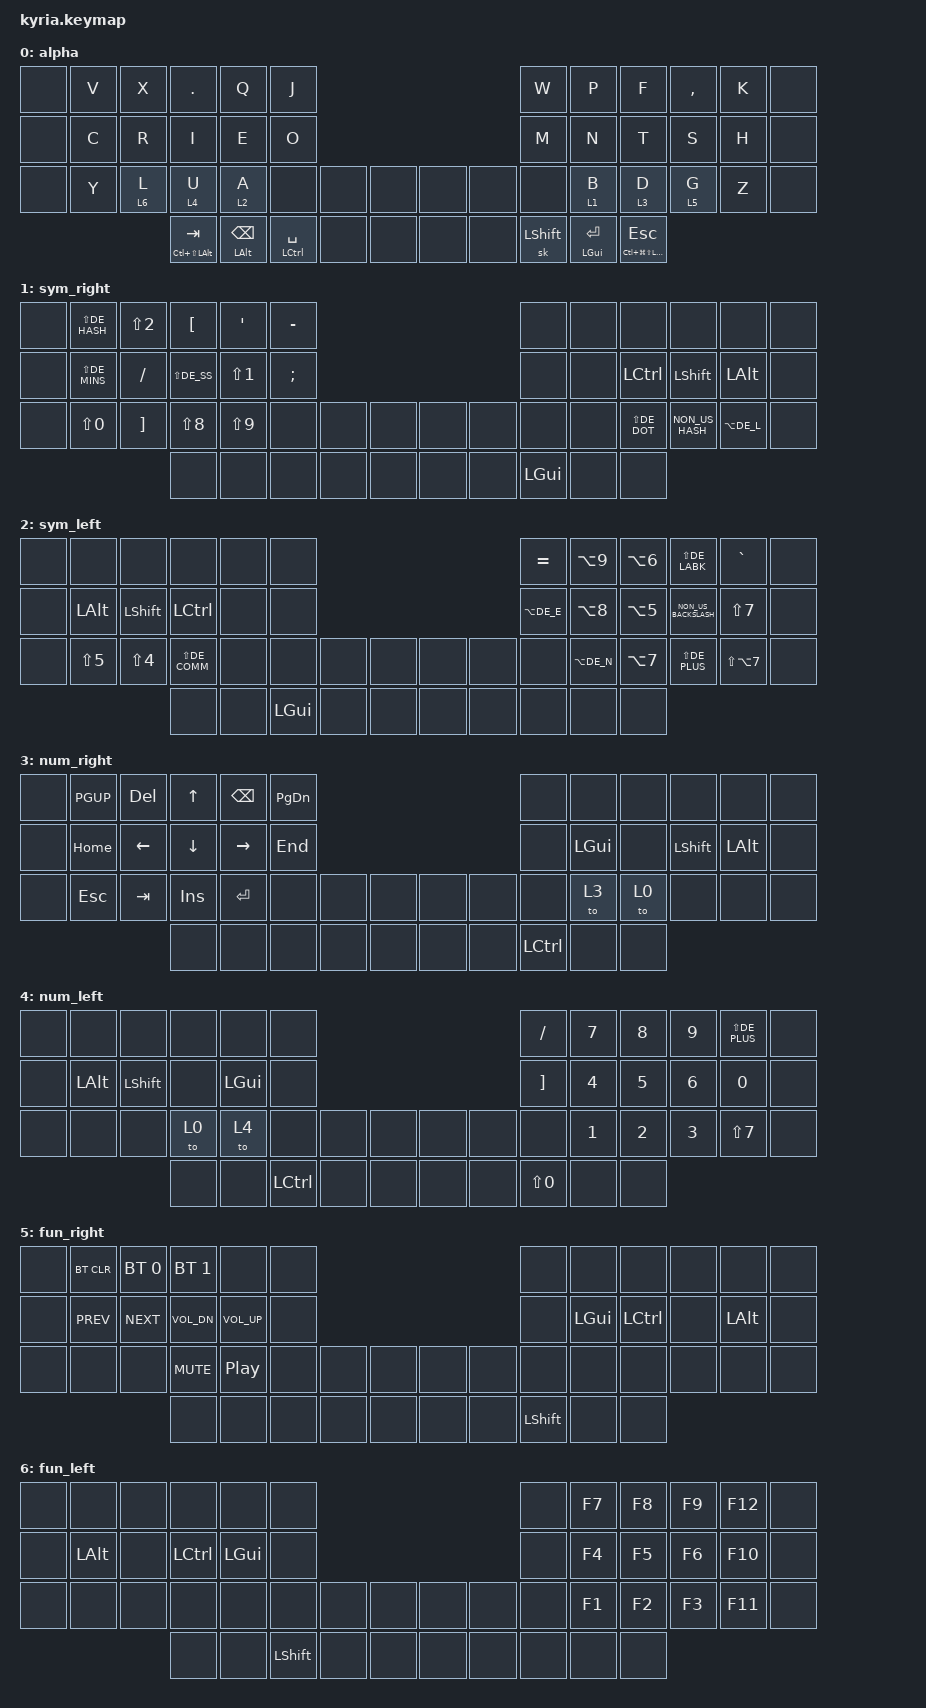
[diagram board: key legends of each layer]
/*
 * Copyright (c) 2020 The ZMK Contributors
 *
 * SPDX-License-Identifier: MIT
 */

#include <behaviors.dtsi>
#include <dt-bindings/zmk/keys.h>
#include <dt-bindings/zmk/bt.h>
#include <dt-bindings/zmk/mouse.h>

/*
 * ┌───┬───┬───┬───┬───┬───┬───┬───┬───┬───┬───┬───┬───┬─────┐
 * │ ^ │ 1 │ 2 │ 3 │ 4 │ 5 │ 6 │ 7 │ 8 │ 9 │ 0 │ ß │ ´ │     │
 * ├───┴─┬─┴─┬─┴─┬─┴─┬─┴─┬─┴─┬─┴─┬─┴─┬─┴─┬─┴─┬─┴─┬─┴─┬─┴─┬───┤
 * │     │ Q │ W │ E │ R │ T │ Z │ U │ I │ O │ P │ Ü │ + │   │
 * ├─────┴┬──┴┬──┴┬──┴┬──┴┬──┴┬──┴┬──┴┬──┴┬──┴┬──┴┬──┴┬──┴┐  │
 * │      │ A │ S │ D │ F │ G │ H │ J │ K │ L │ Ö │ Ä │ # │  │
 * ├────┬─┴─┬─┴─┬─┴─┬─┴─┬─┴─┬─┴─┬─┴─┬─┴─┬─┴─┬─┴─┬─┴─┬─┴───┴──┤
 * │    │ < │ Y │ X │ C │ V │ B │ N │ M │ , │ . │ - │        │
 * ├────┴┬──┴─┬─┴───┼───┴───┴───┴───┴───┴───┼───┴─┬─┴──┬─────┤
 * │     │    │     │                       │     │    │     │
 * └─────┴────┴─────┴───────────────────────┴─────┴────┴─────┘
 */
// Row 1
#define DE_CIRC GRAVE // ^ (dead)
#define DE_SS   MINUS // ß
#define DE_ACUT EQUAL // ´ (dead)

// Row 2
#define DE_Q    Q            // Q
#define DE_W    W            // W
#define DE_E    E            // E
#define DE_R    R            // R
#define DE_T    T            // T
#define DE_Z    Y            // Z
#define DE_U    U            // U
#define DE_I    I            // I
#define DE_O    O            // O
#define DE_P    P            // P
#define DE_UDIA LEFT_BRACKET // Ü
#define DE_PLUS RIGHT_BRACKET // +

// Row 3
#define DE_A    A            // A
#define DE_S    S            // S
#define DE_D    D            // D
#define DE_F    F            // F
#define DE_G    G            // G
#define DE_H    H            // H
#define DE_J    J            // J
#define DE_K    K            // K
#define DE_L    L            // L
#define DE_ODIA SEMICOLON    // Ö
#define DE_ADIA SINGLE_QUOTE // Ä
#define DE_HASH NON_US_HASH  // #

// Row 4
#define DE_LABK NON_US_BACKSLASH // <
#define DE_Y    Z                // Y
#define DE_X    X                // X
#define DE_C    C                // C
#define DE_V    V                // V
#define DE_B    B                // B
#define DE_N    N                // N
#define DE_M    M                // M
#define DE_COMM COMMA            // ,
#define DE_DOT  PERIOD           // .
#define DE_MINS SLASH            // -

/* Shifted symbols
 * ┌───┬───┬───┬───┬───┬───┬───┬───┬───┬───┬───┬───┬───┬─────┐
 * │ ° │ ! │ " │ § │ $ │ % │ & │ / │ ( │ ) │ = │ ? │ ` │     │
 * ├───┴─┬─┴─┬─┴─┬─┴─┬─┴─┬─┴─┬─┴─┬─┴─┬─┴─┬─┴─┬─┴─┬─┴─┬─┴─┬───┤
 * │     │   │   │   │   │   │   │   │   │   │   │   │ * │   │
 * ├─────┴┬──┴┬──┴┬──┴┬──┴┬──┴┬──┴┬──┴┬──┴┬──┴┬──┴┬──┴┬──┴┐  │
 * │      │   │   │   │   │   │   │   │   │   │   │   │ ' │  │
 * ├────┬─┴─┬─┴─┬─┴─┬─┴─┬─┴─┬─┴─┬─┴─┬─┴─┬─┴─┬─┴─┬─┴─┬─┴───┴──┤
 * │    │ > │   │   │   │   │   │   │   │ ; │ : │ _ │        │
 * ├────┴┬──┴─┬─┴───┼───┴───┴───┴───┴───┴───┼───┴─┬─┴──┬─────┤
 * │     │    │     │                       │     │    │     │
 * └─────┴────┴─────┴───────────────────────┴─────┴────┴─────┘
 */
// Row 1
#define DE_DEG  LS(DE_CIRC) // °
#define DE_EXLM LS(NUMBER_1)    // !
#define DE_DQUO LS(NUMBER_2)    // "
#define DE_SECT LS(NUMBER_3)    // §
#define DE_DLR  LS(NUMBER_4)    // $
#define DE_PERC LS(NUMBER_5)    // %
#define DE_AMPR LS(NUMBER_6)    // &
#define DE_SLSH LS(NUMBER_7)    // /
#define DE_LPRN LS(NUMBER_8)    // (
#define DE_RPRN LS(NUMBER_9)    // )
#define DE_EQL  LS(NUMBER_0)    // =
#define DE_QUES LS(DE_SS)   // ?
#define DE_GRV  LS(DE_ACUT) // ` (dead)
// Row 2
#define DE_ASTR LS(DE_PLUS) // *
// Row 3
#define DE_QUOT LS(DE_HASH) // '
// Row 4
#define DE_RABK LS(DE_LABK) // >
#define DE_SCLN LS(DE_COMM) // ;
#define DE_COLN LS(DE_DOT)  // :
#define DE_UNDS LS(DE_MINS) // _

/* Alted symbols
 * ┌───┬───┬───┬───┬───┬───┬───┬───┬───┬───┬───┬───┬───┬─────┐
 * │ „ │ ¡ │ “ │ ¶ │ ¢ │ [ │ ] │ | │ { │ } │ ≠ │ ¿ │   │     │
 * ├───┴─┬─┴─┬─┴─┬─┴─┬─┴─┬─┴─┬─┴─┬─┴─┬─┴─┬─┴─┬─┴─┬─┴─┬─┴─┬───┤
 * │     │ « │ ∑ │ € │ ® │ † │ Ω │ ¨ │ ⁄ │ Ø │ π │ • │ ± │   │
 * ├─────┴┬──┴┬──┴┬──┴┬──┴┬──┴┬──┴┬──┴┬──┴┬──┴┬──┴┬──┴┬──┴┐  │
 * │      │ Å │ ‚ │ ∂ │ ƒ │ © │ ª │ º │ ∆ │ @ │ Œ │ Æ │ ‘ │  │
 * ├────┬─┴─┬─┴─┬─┴─┬─┴─┬─┴─┬─┴─┬─┴─┬─┴─┬─┴─┬─┴─┬─┴─┬─┴───┴──┤
 * │    │ ≤ │ ¥ │ ≈ │ Ç │ √ │ ∫ │ ~ │ µ │ ∞ │ … │ – │        │
 * ├────┴┬──┴─┬─┴───┼───┴───┴───┴───┴───┴───┼───┴─┬─┴──┬─────┤
 * │     │    │     │                       │     │    │     │
 * └─────┴────┴─────┴───────────────────────┴─────┴────┴─────┘
 */
// Row 1
#define DE_LBRC LA(NUMBER_5)    // [
#define DE_RBRC LA(NUMBER_6)    // ]
#define DE_PIPE LA(NUMBER_7)    // |
#define DE_LCBR LA(NUMBER_8)    // {
#define DE_RCBR LA(NUMBER_9)    // }
#define DE_AT LA(DE_L)    // @
#define DE_EURO LA(DE_E)    // €
#define DE_TILD LA(DE_N)    // ~

/* Shift+Alted symbols
 * ┌───┬───┬───┬───┬───┬───┬───┬───┬───┬───┬───┬───┬───┬─────┐
 * │   │ ¬ │ ” │   │ £ │ ﬁ │   │ \ │ ˜ │ · │ ¯ │ ˙ │ ˚ │     │
 * ├───┴─┬─┴─┬─┴─┬─┴─┬─┴─┬─┴─┬─┴─┬─┴─┬─┴─┬─┴─┬─┴─┬─┴─┬─┴─┬───┤
 * │     │ » │   │ ‰ │ ¸ │ ˝ │ ˇ │ Á │ Û │   │ ∏ │   │  │   │
 * ├─────┴┬──┴┬──┴┬──┴┬──┴┬──┴┬──┴┬──┴┬──┴┬──┴┬──┴┬──┴┬──┴┐  │
 * │      │   │ Í │ ™ │ Ï │ Ì │ Ó │ ı │   │ ﬂ │   │   │   │  │
 * ├────┬─┴─┬─┴─┬─┴─┬─┴─┬─┴─┬─┴─┬─┴─┬─┴─┬─┴─┬─┴─┬─┴─┬─┴───┴──┤
 * │    │ ≥ │ ‡ │ Ù │   │ ◊ │ ‹ │ › │ ˘ │ ˛ │ ÷ │ — │        │
 * ├────┴┬──┴─┬─┴───┼───┴───┴───┴───┴───┴───┼───┴─┬─┴──┬─────┤
 * │     │    │     │                       │     │    │     │
 * └─────┴────┴─────┴───────────────────────┴─────┴────┴─────┘
 */
// Row 1
#define DE_BSLS LS(LA(NUMBER_7))    // (backslash)

#define DEFAULT 0
#define SYMBOLS 1
#define NUM 2
#define FUN 3

/ {
    behaviors {
        hl: hl {
            compatible = "zmk,behavior-hold-tap";
            label = "Hold Sticky Layer";
            #binding-cells = <2>;
            tapping-term-ms = <200>;
            quick_tap_ms = <0>;
            flavor = "tap-preferred";
            bindings = <&sl>, <&kp>;
        };

        tl: tl {
            compatible = "zmk,behavior-hold-tap";
            label = "To Layer";
            #binding-cells = <2>;
            tapping-term-ms = <200>;
            quick_tap_ms = <0>;
            flavor = "tap-preferred";
            bindings = <&mo>, <&kp>;
        };
    };
};

#define _____ &none
#define HYPER LC(LG(LS(LALT)))
#define MEH LC(LS(LALT))

&mt {
    tapping-term-ms = <300>;
    flavor = "tap-preferred";
    quick_tap_ms = <50>;
    bindings = <&sk>, <&kp>;
};

/ {
    keymap {
        compatible = "zmk,keymap";


        /**
        layer {
            bindings = <
            _____ _____ _____ _____ _____ _____                         _____ _____ _____ _____ _____ _____
            _____ _____ _____ _____ _____ _____                         _____ _____ _____ _____ _____ _____
            _____ _____ _____ _____ _____ _____ _____ _____ _____ _____ _____ _____ _____ _____ _____ _____
                              _____ _____ _____ _____ _____ _____ _____ _____ _____ _____
            >;
        };
        **/

        alpha {
            bindings = <
            _____ &kp DE_V &kp DE_X   &kp DE_DOT &kp DE_Q            &kp DE_J                                &kp DE_W   &kp DE_P       &kp DE_F         &kp DE_COMM &kp DE_K _____
            _____ &kp DE_C &kp DE_R   &kp DE_I   &kp DE_E            &kp DE_O                                &kp DE_M   &kp DE_N       &kp DE_T         &kp DE_S    &kp DE_H _____
            _____ &kp DE_Z &hl 6 DE_L &tl 4 DE_U &hl 2 DE_A          _____           _____ _____ _____ _____ _____      &hl 1 DE_B     &tl 3 DE_D       &hl 5 DE_G  &kp DE_Y _____
                                      &mt MEH TAB &mt LALT BACKSPACE &mt LCTRL SPACE _____ _____ _____ _____ &sk LSHFT  &mt LGUI ENTER &mt HYPER ESCAPE
            >;
        };


        sym_right {
            bindings = <
            _____ &kp DE_QUOT &kp DE_DQUO &kp DE_UDIA &kp DE_ADIA &kp DE_SS                           _____    _____ _____       _____       _____     _____
            _____ &kp DE_UNDS &kp DE_MINS &kp DE_QUES &kp DE_EXLM &kp DE_ODIA                         _____    _____ &kp LCTRL   &kp LSHFT   &kp LALT  _____
            _____ &kp DE_EQL  &kp DE_PLUS &kp DE_LPRN &kp DE_RPRN _____       _____ _____ _____ _____ _____    _____ &kp DE_COLN &kp DE_HASH &kp DE_AT _____
                                          _____       _____       _____       _____ _____ _____ _____ &kp LGUI _____ _____
            >;
        };

        sym_left {
            bindings = <
            _____ _____       _____      _____       _____ _____                             &kp DE_ACUT &kp DE_RCBR &kp DE_RBRC &kp DE_RABK &kp DE_CIRC _____
            _____ &kp LALT    &kp LSHFT  &kp LCTRL   _____ _____                             &kp DE_EURO &kp DE_LCBR &kp DE_LBRC &kp DE_LABK &kp DE_SLSH _____
            _____ &kp DE_PERC &kp DE_DLR &kp DE_SCLN _____ _____     _____ _____ _____ _____ _____       &kp DE_TILD &kp DE_PIPE &kp DE_ASTR &kp DE_BSLS _____
                                         _____       _____ &kp LGUI _____ _____ _____ _____ _____       _____       _____
            >;
        };

        num_right {
            bindings = <
            _____ &kp PGUP   &kp DELETE &kp UP   &kp BACKSPACE &kp PG_DN                         _____     _____    _____ _____     _____    _____
            _____ &kp HOME   &kp LEFT   &kp DOWN &kp RIGHT     &kp END                           _____     &kp LGUI _____ &kp LSHFT &kp LALT _____
            _____ &kp ESCAPE &kp TAB    &kp INS  &kp ENTER     _____     _____ _____ _____ _____ _____     &to 3    &to 0 _____     _____    _____
                                        _____    _____         _____     _____ _____ _____ _____ &kp LCTRL _____    _____
            >;
        };


        num_left {
            bindings = <
            _____ _____    _____     _____ _____    _____                             &kp DE_MINS &kp N7 &kp N8 &kp N9 &kp DE_ASTR _____
            _____ &kp LALT &kp LSHFT _____ &kp LGUI _____                             &kp DE_PLUS &kp N4 &kp N5 &kp N6 &kp N0      _____
            _____ _____    _____     &to 0 &to 4    _____     _____ _____ _____ _____ _____       &kp N1 &kp N2 &kp N3 &kp DE_SLSH _____
                                     _____ _____    &kp LCTRL _____ _____ _____ _____ &kp DE_EQL  _____ _____
            >;
        };


        fun_right {
            bindings = <
            _____ &bt BT_CLR &bt BT_SEL 0 &bt BT_SEL 1 _____            _____                         _____      _____    _____     _____ _____    _____
            _____ &kp C_PREV &kp C_NEXT   &kp C_VOL_DN &kp C_VOL_UP     _____                         _____      &kp LGUI &kp LCTRL _____ &kp LALT _____ 
            _____ _____      _____        &kp C_MUTE   &kp C_PLAY_PAUSE _____ _____ _____ _____ _____ _____      _____    _____     _____ _____    _____
                                          _____        _____            _____ _____ _____ _____ _____  &kp LSHFT _____    _____
            >;
        };


        fun_left {
            bindings = <
            _____ _____    _____ _____     _____    _____                             _____ &kp F7 &kp F8 &kp F9 &kp F12 _____
            _____ &kp LALT _____ &kp LCTRL &kp LGUI _____                             _____ &kp F4 &kp F5 &kp F6 &kp F10 _____
            _____ _____    _____ _____     _____    _____     _____ _____ _____ _____ _____ &kp F1 &kp F2 &kp F3 &kp F11 _____
                                 _____     _____    &kp LSHFT _____ _____ _____ _____ _____ _____  _____
            >;
        };

    };
};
